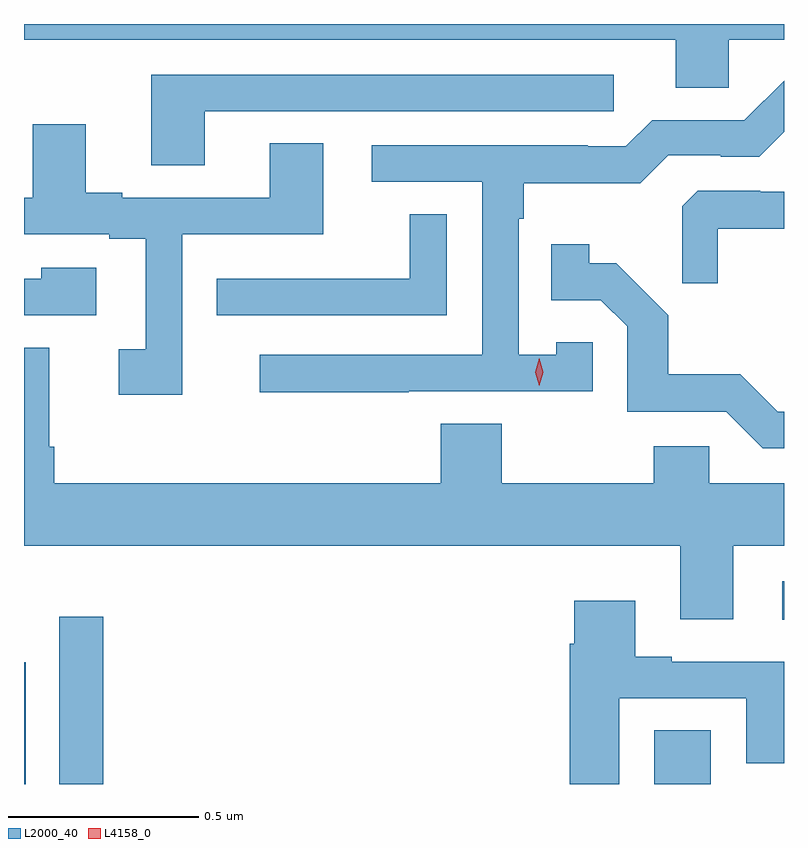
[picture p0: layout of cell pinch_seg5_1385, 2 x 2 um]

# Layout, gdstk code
import gdstk
lib = gdstk.Library(unit=1e-6, precision=1e-09)
def R(c, l, rs):  # rectangles x0, y0, x1, y1
    for r in rs: c.add(gdstk.rectangle(r[:2], r[2:], *l))
def P(c, l, *ps):  # polygons
    for p in ps: c.add(gdstk.Polygon(p, *l))
L2000_40 = (2000, 40)
L4158_0 = (4158, 0)

pinch_seg5_1385 = lib.new_cell('pinch_seg5_1385')
R(pinch_seg5_1385, L2000_40, [(290.244,893.429,290.248,893.749), (290.337,893.429,290.453,893.869), (291.902,893.429,292.051,893.57), (292.239,893.861,292.244,893.962)])
P(pinch_seg5_1385, L2000_40, [(292.098,895.388),(292.244,895.388),(292.244,895.429),(290.244,895.429),(290.244,895.388),(291.959,895.388),(291.959,895.261),(292.098,895.261)],
  [(290.719,895.2),(291.796,895.2),(291.796,895.296),(290.579,895.296),(290.579,895.057),(290.719,895.057)],
  [(291.257,894.462),(291.741,894.462),(291.741,894.591),(291.645,894.591),(291.645,894.559),(291.546,894.559),(291.546,894.917),(291.559,894.917),(291.559,895.01),(291.866,895.01),(291.939,895.083),(292.078,895.083),(292.078,895.08),(292.179,895.08),(292.244,895.145),(292.244,895.28),(292.14,895.176),(291.897,895.176),(291.828,895.107),(291.728,895.107),(291.728,895.11),(291.159,895.11),(291.159,895.014),(291.45,895.014),(291.45,894.558),(290.865,894.558),(290.865,894.46),(291.257,894.46)],
  [(290.661,894.876),(291.031,894.876),(291.031,895.115),(290.891,895.115),(290.891,894.972),(290.503,894.972),(290.503,894.985),(290.407,894.985),(290.407,895.165),(290.267,895.165),(290.267,894.972),(290.244,894.972),(290.244,894.876),(290.468,894.876),(290.468,894.864),(290.564,894.864),(290.564,894.573),(290.493,894.573),(290.493,894.453),(290.661,894.453)],
  [(292.07,894.89),(292.244,894.89),(292.244,894.987),(292.182,894.987),(292.182,894.99),(292.017,894.99),(291.976,894.949),(291.976,894.747),(292.07,894.747)],
  [(291.357,894.929),(291.259,894.929),(291.259,894.759),(290.863,894.759),(290.863,894.758),(290.751,894.758),(290.751,894.663),(291.357,894.663)],
  [(292.244,894.408),(292.227,894.408),(292.129,894.507),(291.94,894.507),(291.94,894.662),(291.802,894.8),(291.732,894.8),(291.732,894.85),(291.631,894.85),(291.631,894.702),(291.762,894.702),(291.831,894.633),(291.831,894.408),(292.092,894.408),(292.188,894.312),(292.244,894.312)],
  [(290.434,894.787),(290.289,894.787),(290.289,894.759),(290.244,894.759),(290.244,894.663),(290.434,894.663)],
  [(292.111,894.056),(292.244,894.056),(292.244,894.22),(292.047,894.22),(292.047,894.318),(291.901,894.318),(291.901,894.22),(291.501,894.22),(291.501,894.377),(291.341,894.377),(291.341,894.22),(290.324,894.22),(290.324,894.316),(290.311,894.316),(290.311,894.577),(290.244,894.577),(290.244,894.056),(291.971,894.056),(291.971,893.862),(292.111,893.862)],
  [(291.811,893.655),(292.145,893.655),(292.145,893.484),(292.244,893.484),(292.244,893.751),(291.949,893.751),(291.949,893.764),(291.853,893.764),(291.853,893.911),(291.692,893.911),(291.692,893.798),(291.68,893.798),(291.68,893.429),(291.811,893.429)])
P(pinch_seg5_1385, L4158_0, [(291.6,894.477),(291.6,894.477),(291.59,894.513),(291.6,894.549),(291.6,894.55),(291.6,894.549),(291.61,894.513),(291.6,894.477)])

lib.write_gds('pinch_seg5_1385.gds')
